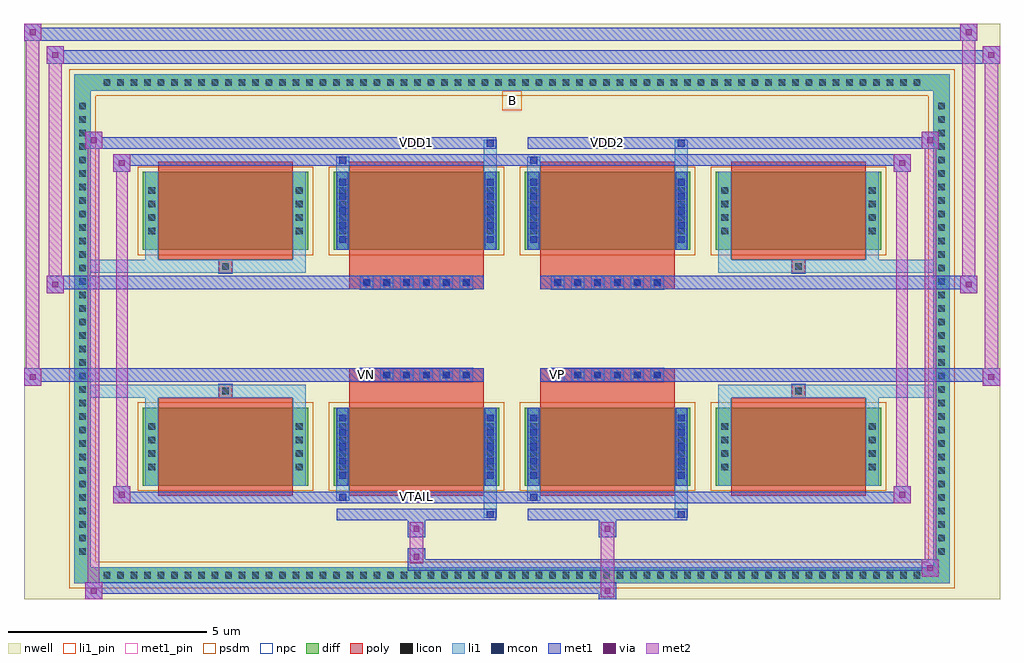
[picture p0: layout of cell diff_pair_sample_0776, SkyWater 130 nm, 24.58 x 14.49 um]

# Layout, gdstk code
import gdstk
lib = gdstk.Library(unit=1e-6, precision=5e-09)
def R(c, l, rs):  # rectangles x0, y0, x1, y1
    for r in rs: c.add(gdstk.rectangle(r[:2], r[2:], *l))
def A(c, l, x, y, w, h, nx, ny, dx, dy):  # array of equal rectangles
    R(c, l, [(x+i*dx, y+j*dy, x+i*dx+w, y+j*dy+h) for i in range(nx) for j in range(ny)])
def P(c, l, *ps):  # polygons
    for p in ps: c.add(gdstk.Polygon(p, *l))
nwell = (64, 20)
diff = (65, 20)
poly = (66, 20)
licon = (66, 44)
li1_pin = (67, 16)
li1 = (67, 20)
mcon = (67, 44)
met1_pin = (68, 16)
met1 = (68, 20)
via = (68, 44)
met2 = (69, 20)
psdm = (94, 20)
npc = (95, 20)

diff_pair_sample_0776 = lib.new_cell('diff_pair_sample_0776')
R(diff_pair_sample_0776, nwell, [(-12.29,-6.81,12.29,7.68), (-9.61,-5,-0.01,-0.8), (0.01,-5,9.61,-0.8), (-9.61,0.8,-0.01,5), (0.01,0.8,9.61,5)])
A(diff_pair_sample_0776, diff, -10.405, -6.41, 0.41, 0.41, 61, 2, 0.34, 12.41)
A(diff_pair_sample_0776, diff, -11.02, -5.815, 0.41, 0.41, 1, 34, 0, 0.34)
A(diff_pair_sample_0776, diff, 10.61, -5.815, 0.41, 0.41, 1, 34, 0, 0.34)
A(diff_pair_sample_0776, diff, -9.3, -3.955, 4.17, 1.97, 4, 2, 4.81, 5.94)
R(diff_pair_sample_0776, diff, [(-10.405,-6.41,10.405,-6), (-11.02,-5.815,-10.61,5.815), (10.61,-5.815,11.02,5.815), (-10.405,6,10.405,6.41)])
P(diff_pair_sample_0776, diff, [(11.02,6.41),(-11.02,6.41),(-11.02,-6),(-10.61,-6),(-10.61,6),(10.61,6),(10.61,-6),(-10.61,-6),(-11.02,-6),(-11.02,-6.41),(11.02,-6.41)])
A(diff_pair_sample_0776, poly, -8.91, -4.205, 3.39, 2.47, 4, 2, 4.81, 5.94)
A(diff_pair_sample_0776, poly, -3.82, -1.33, 0.33, 0.33, 6, 2, 0.5, 2.33)
A(diff_pair_sample_0776, poly, 0.99, -1.33, 0.33, 0.33, 6, 2, 0.5, 2.33)
R(diff_pair_sample_0776, poly, [(-7.38,-1.735,-7.05,-1.405), (-7.38,-1.735,-7.05,-1.405), (-4.1,-1.735,-0.71,-1.33), (0.71,-1.735,4.1,-1.33), (7.05,-1.735,7.38,-1.405), (7.05,-1.735,7.38,-1.405), (-4.1,-1.33,-0.71,-1), (0.71,-1.33,4.1,-1), (-4.1,1,-0.71,1.33), (0.71,1,4.1,1.33), (-4.1,1.33,-0.71,1.735), (0.71,1.33,4.1,1.735), (-7.38,1.405,-7.05,1.735), (-7.38,1.405,-7.05,1.735), (7.05,1.405,7.38,1.735), (7.05,1.405,7.38,1.735)])
A(diff_pair_sample_0776, licon, -10.285, -6.29, 0.17, 0.17, 61, 2, 0.34, 12.41)
A(diff_pair_sample_0776, licon, -10.9, -5.695, 0.17, 0.17, 1, 34, 0, 0.34)
A(diff_pair_sample_0776, licon, 10.73, -5.695, 0.17, 0.17, 1, 34, 0, 0.34)
A(diff_pair_sample_0776, licon, -9.16, -3.565, 0.17, 0.17, 1, 4, 0, 0.34)
A(diff_pair_sample_0776, licon, -5.44, -3.565, 0.17, 0.17, 1, 4, 0, 0.34)
A(diff_pair_sample_0776, licon, -4.35, -3.565, 0.17, 0.17, 1, 4, 0, 0.34)
A(diff_pair_sample_0776, licon, -0.63, -3.565, 0.17, 0.17, 1, 4, 0, 0.34)
A(diff_pair_sample_0776, licon, 0.46, -3.565, 0.17, 0.17, 1, 4, 0, 0.34)
A(diff_pair_sample_0776, licon, 4.18, -3.565, 0.17, 0.17, 1, 4, 0, 0.34)
A(diff_pair_sample_0776, licon, 5.27, -3.565, 0.17, 0.17, 1, 4, 0, 0.34)
A(diff_pair_sample_0776, licon, 8.99, -3.565, 0.17, 0.17, 1, 4, 0, 0.34)
A(diff_pair_sample_0776, licon, -3.74, -1.25, 0.17, 0.17, 6, 2, 0.5, 2.33)
A(diff_pair_sample_0776, licon, 1.07, -1.25, 0.17, 0.17, 6, 2, 0.5, 2.33)
A(diff_pair_sample_0776, licon, -9.16, 2.375, 0.17, 0.17, 1, 4, 0, 0.34)
A(diff_pair_sample_0776, licon, -5.44, 2.375, 0.17, 0.17, 1, 4, 0, 0.34)
A(diff_pair_sample_0776, licon, -4.35, 2.375, 0.17, 0.17, 1, 4, 0, 0.34)
A(diff_pair_sample_0776, licon, -0.63, 2.375, 0.17, 0.17, 1, 4, 0, 0.34)
A(diff_pair_sample_0776, licon, 0.46, 2.375, 0.17, 0.17, 1, 4, 0, 0.34)
A(diff_pair_sample_0776, licon, 4.18, 2.375, 0.17, 0.17, 1, 4, 0, 0.34)
A(diff_pair_sample_0776, licon, 5.27, 2.375, 0.17, 0.17, 1, 4, 0, 0.34)
A(diff_pair_sample_0776, licon, 8.99, 2.375, 0.17, 0.17, 1, 4, 0, 0.34)
R(diff_pair_sample_0776, licon, [(-7.3,-1.655,-7.13,-1.485), (7.13,-1.655,7.3,-1.485), (-7.3,1.485,-7.13,1.655), (7.13,1.485,7.3,1.655)])
R(diff_pair_sample_0776, li1_pin, [(-0.25,5.5,0.25,6)])
A(diff_pair_sample_0776, li1, -10.365, -6.37, 0.33, 0.33, 61, 2, 0.34, 12.41)
A(diff_pair_sample_0776, li1, -10.98, -5.775, 0.33, 0.33, 1, 34, 0, 0.34)
A(diff_pair_sample_0776, li1, 10.65, -5.775, 0.33, 0.33, 1, 34, 0, 0.34)
A(diff_pair_sample_0776, li1, -4.35, -3.775, 0.17, 0.17, 1, 5, 0, 0.36)
A(diff_pair_sample_0776, li1, -0.63, -3.775, 0.17, 0.17, 1, 5, 0, 0.36)
A(diff_pair_sample_0776, li1, 0.46, -3.775, 0.17, 0.17, 1, 5, 0, 0.36)
A(diff_pair_sample_0776, li1, 4.18, -3.775, 0.17, 0.17, 1, 5, 0, 0.36)
A(diff_pair_sample_0776, li1, -9.24, -3.645, 0.33, 0.33, 1, 4, 0, 0.34)
A(diff_pair_sample_0776, li1, -5.52, -3.645, 0.33, 0.33, 1, 4, 0, 0.34)
A(diff_pair_sample_0776, li1, -4.43, -3.645, 0.33, 0.33, 1, 4, 0, 0.34)
A(diff_pair_sample_0776, li1, -0.71, -3.645, 0.33, 0.33, 1, 4, 0, 0.34)
A(diff_pair_sample_0776, li1, 0.38, -3.645, 0.33, 0.33, 1, 4, 0, 0.34)
A(diff_pair_sample_0776, li1, 4.1, -3.645, 0.33, 0.33, 1, 4, 0, 0.34)
A(diff_pair_sample_0776, li1, 5.19, -3.645, 0.33, 0.33, 1, 4, 0, 0.34)
A(diff_pair_sample_0776, li1, 8.91, -3.645, 0.33, 0.33, 1, 4, 0, 0.34)
A(diff_pair_sample_0776, li1, -3.82, -1.33, 0.33, 0.33, 6, 2, 0.5, 2.33)
A(diff_pair_sample_0776, li1, 0.99, -1.33, 0.33, 0.33, 6, 2, 0.5, 2.33)
A(diff_pair_sample_0776, li1, -4.35, 2.165, 0.17, 0.17, 1, 5, 0, 0.36)
A(diff_pair_sample_0776, li1, -0.63, 2.165, 0.17, 0.17, 1, 5, 0, 0.36)
A(diff_pair_sample_0776, li1, 0.46, 2.165, 0.17, 0.17, 1, 5, 0, 0.36)
A(diff_pair_sample_0776, li1, 4.18, 2.165, 0.17, 0.17, 1, 5, 0, 0.36)
A(diff_pair_sample_0776, li1, -9.24, 2.295, 0.33, 0.33, 1, 4, 0, 0.34)
A(diff_pair_sample_0776, li1, -5.52, 2.295, 0.33, 0.33, 1, 4, 0, 0.34)
A(diff_pair_sample_0776, li1, -4.43, 2.295, 0.33, 0.33, 1, 4, 0, 0.34)
A(diff_pair_sample_0776, li1, -0.71, 2.295, 0.33, 0.33, 1, 4, 0, 0.34)
A(diff_pair_sample_0776, li1, 0.38, 2.295, 0.33, 0.33, 1, 4, 0, 0.34)
A(diff_pair_sample_0776, li1, 4.1, 2.295, 0.33, 0.33, 1, 4, 0, 0.34)
A(diff_pair_sample_0776, li1, 5.19, 2.295, 0.33, 0.33, 1, 4, 0, 0.34)
A(diff_pair_sample_0776, li1, 8.91, 2.295, 0.33, 0.33, 1, 4, 0, 0.34)
R(diff_pair_sample_0776, li1, [(-11.02,-6.41,-10.61,-6), (-11.02,-6.41,-10.61,-6), (-10.61,-6.41,10.61,-6), (10.61,-6.41,11.02,-6), (10.61,-6.41,11.02,-6), (-11.02,-6,-10.61,6), (10.61,-6,11.02,6), (-0.71,-4.76,-0.38,-3.955), (-0.63,-4.76,-0.46,-4.59), (4.1,-4.76,4.43,-3.955), (4.18,-4.76,4.35,-4.59), (-4.43,-4.33,-4.1,-3.955), (-4.35,-4.33,-4.18,-4.16), (0.38,-4.33,0.71,-3.955), (0.46,-4.33,0.63,-4.16), (-9.24,-3.955,-8.91,-1.985), (-5.52,-3.955,-5.19,-1.985), (-4.43,-3.955,-4.1,-1.985), (-0.71,-3.955,-0.38,-1.985), (0.38,-3.955,0.71,-1.985), (4.1,-3.955,4.43,-1.985), (5.19,-3.955,5.52,-1.985), (8.91,-3.955,9.24,-1.985), (-4.35,-3.775,-4.18,-2.165), (-0.63,-3.775,-0.46,-2.165), (0.46,-3.775,0.63,-2.165), (4.18,-3.775,4.35,-2.165), (-9.24,-1.985,-8.91,-1.405), (-5.52,-1.985,-5.19,-1.405), (5.19,-1.985,5.52,-1.405), (8.91,-1.985,9.24,-1.405), (-11.02,-1.735,-7.38,-1.405), (-9.24,-1.735,-7.38,-1.405), (-7.38,-1.735,-7.05,-1.405), (-7.05,-1.735,-5.19,-1.405), (5.19,-1.735,7.05,-1.405), (7.05,-1.735,7.38,-1.405), (7.05,-1.735,11.02,-1.405), (7.38,-1.735,9.24,-1.405), (-11.02,1.405,-7.38,1.735), (-9.24,1.405,-7.38,1.735), (-9.24,1.405,-8.91,1.985), (-7.38,1.405,-7.05,1.735), (-7.05,1.405,-5.19,1.735), (-5.52,1.405,-5.19,1.985), (5.19,1.405,7.05,1.735), (5.19,1.405,5.52,1.985), (7.05,1.405,7.38,1.735), (7.05,1.405,11.02,1.735), (7.38,1.405,9.24,1.735), (8.91,1.405,9.24,1.985), (-9.24,1.985,-8.91,3.955), (-5.52,1.985,-5.19,3.955), (-4.43,1.985,-4.1,3.955), (-0.71,1.985,-0.38,3.955), (0.38,1.985,0.71,3.955), (4.1,1.985,4.43,3.955), (5.19,1.985,5.52,3.955), (8.91,1.985,9.24,3.955), (-4.35,2.165,-4.18,3.775), (-0.63,2.165,-0.46,3.775), (0.46,2.165,0.63,3.775), (4.18,2.165,4.35,3.775), (-4.43,3.955,-4.1,4.33), (-0.71,3.955,-0.38,4.76), (0.38,3.955,0.71,4.33), (4.1,3.955,4.43,4.76), (-4.35,4.16,-4.18,4.33), (0.46,4.16,0.63,4.33), (-0.63,4.59,-0.46,4.76), (4.18,4.59,4.35,4.76), (-11.02,6,-10.61,6.41), (-11.02,6,-10.61,6.41), (-10.61,6,10.61,6.41), (10.61,6,11.02,6.41), (10.61,6,11.02,6.41)])
A(diff_pair_sample_0776, mcon, -4.35, -3.775, 0.17, 0.17, 1, 5, 0, 0.36)
A(diff_pair_sample_0776, mcon, -0.63, -3.775, 0.17, 0.17, 1, 5, 0, 0.36)
A(diff_pair_sample_0776, mcon, 0.46, -3.775, 0.17, 0.17, 1, 5, 0, 0.36)
A(diff_pair_sample_0776, mcon, 4.18, -3.775, 0.17, 0.17, 1, 5, 0, 0.36)
A(diff_pair_sample_0776, mcon, -3.74, -1.25, 0.17, 0.17, 6, 2, 0.5, 2.33)
A(diff_pair_sample_0776, mcon, 1.07, -1.25, 0.17, 0.17, 6, 2, 0.5, 2.33)
A(diff_pair_sample_0776, mcon, -4.35, 2.165, 0.17, 0.17, 1, 5, 0, 0.36)
A(diff_pair_sample_0776, mcon, -0.63, 2.165, 0.17, 0.17, 1, 5, 0, 0.36)
A(diff_pair_sample_0776, mcon, 0.46, 2.165, 0.17, 0.17, 1, 5, 0, 0.36)
A(diff_pair_sample_0776, mcon, 4.18, 2.165, 0.17, 0.17, 1, 5, 0, 0.36)
R(diff_pair_sample_0776, mcon, [(-0.63,-4.76,-0.46,-4.59), (4.18,-4.76,4.35,-4.59), (-4.35,-4.33,-4.18,-4.16), (0.46,-4.33,0.63,-4.16), (-4.35,4.16,-4.18,4.33), (0.46,4.16,0.63,4.33), (-0.63,4.59,-0.46,4.76), (4.18,4.59,4.35,4.76)])
R(diff_pair_sample_0776, met1_pin, [(-2.54,-4.37,-2.27,-4.1), (-3.79,-1.29,-3.52,-1.02), (1.02,-1.29,1.29,-1.02), (-2.54,4.55,-2.27,4.82), (2.27,4.55,2.54,4.82)])
A(diff_pair_sample_0776, met1, -4.41, -3.835, 0.29, 0.29, 1, 5, 0, 0.36)
A(diff_pair_sample_0776, met1, -0.69, -3.835, 0.29, 0.29, 1, 5, 0, 0.36)
A(diff_pair_sample_0776, met1, 0.4, -3.835, 0.29, 0.29, 1, 5, 0, 0.36)
A(diff_pair_sample_0776, met1, 4.12, -3.835, 0.29, 0.29, 1, 5, 0, 0.36)
A(diff_pair_sample_0776, met1, -3.8, -1.31, 0.29, 0.29, 6, 2, 0.5, 2.33)
A(diff_pair_sample_0776, met1, 1.01, -1.31, 0.29, 0.29, 6, 2, 0.5, 2.33)
A(diff_pair_sample_0776, met1, -4.41, 2.105, 0.29, 0.29, 1, 5, 0, 0.36)
A(diff_pair_sample_0776, met1, -0.69, 2.105, 0.29, 0.29, 1, 5, 0, 0.36)
A(diff_pair_sample_0776, met1, 0.4, 2.105, 0.29, 0.29, 1, 5, 0, 0.36)
A(diff_pair_sample_0776, met1, 4.12, 2.105, 0.29, 0.29, 1, 5, 0, 0.36)
R(diff_pair_sample_0776, met1, [(-10.75,-6.81,-10.32,-6.38), (2.19,-6.81,2.62,-6.38), (-10.75,-6.67,2.62,-6.38), (10.32,-6.24,10.75,-5.81), (-2.62,-6.1,10.75,-5.81), (-2.62,-5.96,-2.19,-5.53), (-2.62,-5.25,-2.19,-4.82), (2.19,-5.25,2.62,-4.82), (-4.41,-4.82,-0.4,-4.53), (-0.69,-4.82,-0.4,-4.53), (0.4,-4.82,4.41,-4.53), (4.12,-4.82,4.41,-4.53), (-10.04,-4.39,-9.61,-3.96), (-10.04,-4.39,-4.41,-4.1), (-4.41,-4.39,-4.12,-4.1), (-4.41,-4.39,-0.4,-4.1), (-0.4,-4.39,0.4,-4.1), (0.4,-4.39,0.69,-4.1), (0.4,-4.39,4.41,-4.1), (4.41,-4.39,10.04,-4.1), (9.61,-4.39,10.04,-3.96), (-4.41,-3.955,-4.12,-1.985), (-0.69,-3.955,-0.4,-1.985), (0.4,-3.955,0.69,-1.985), (4.12,-3.955,4.41,-1.985), (-12.29,-1.43,-11.86,-1), (11.86,-1.43,12.29,-1), (-12.29,-1.33,-0.71,-1), (-4.1,-1.33,-0.71,-1), (0.71,-1.33,4.1,-1), (0.71,-1.33,12.29,-1), (-11.72,0.9,-11.29,1.33), (11.29,0.9,11.72,1.33), (-11.72,1,-4.1,1.33), (-4.1,1,-0.71,1.33), (0.71,1,4.1,1.33), (4.1,1,11.72,1.33), (-4.41,1.985,-4.12,3.955), (-0.69,1.985,-0.4,3.955), (0.4,1.985,0.69,3.955), (4.12,1.985,4.41,3.955), (-10.04,3.96,-9.61,4.39), (9.61,3.96,10.04,4.39), (-10.04,4.1,-4.41,4.39), (-4.41,4.1,-4.12,4.39), (-4.41,4.1,-0.4,4.39), (-0.4,4.1,0.4,4.39), (0.4,4.1,0.69,4.39), (0.4,4.1,4.41,4.39), (4.41,4.1,10.04,4.39), (-10.75,4.53,-10.32,4.96), (-10.75,4.53,-4.41,4.82), (-4.41,4.53,-0.4,4.82), (-0.69,4.53,-0.4,4.82), (0.4,4.53,4.41,4.82), (4.12,4.53,4.41,4.82), (4.41,4.53,10.75,4.82), (10.32,4.53,10.75,4.96), (-11.72,6.68,-11.29,7.11), (-11.72,6.68,-9.61,7.01), (-9.61,6.68,9.61,7.01), (9.61,6.68,12.29,7.01), (11.86,6.68,12.29,7.11), (-12.29,7.25,-11.86,7.68), (-12.29,7.25,-9.61,7.58), (-9.61,7.25,9.61,7.58), (9.61,7.25,11.72,7.58), (11.29,7.25,11.72,7.68)])
R(diff_pair_sample_0776, via, [(-10.61,-6.67,-10.46,-6.52), (2.33,-6.67,2.48,-6.52), (10.46,-6.1,10.61,-5.95), (-2.48,-5.82,-2.33,-5.67), (-2.48,-5.11,-2.33,-4.96), (2.33,-5.11,2.48,-4.96), (-9.9,-4.25,-9.75,-4.1), (9.75,-4.25,9.9,-4.1), (-12.15,-1.29,-12,-1.14), (12,-1.29,12.15,-1.14), (-11.58,1.04,-11.43,1.19), (11.43,1.04,11.58,1.19), (-9.9,4.1,-9.75,4.25), (9.75,4.1,9.9,4.25), (-10.61,4.67,-10.46,4.82), (10.46,4.67,10.61,4.82), (-11.58,6.82,-11.43,6.97), (12,6.82,12.15,6.97), (-12.15,7.39,-12,7.54), (11.43,7.39,11.58,7.54)])
R(diff_pair_sample_0776, met2, [(-10.75,-6.81,-10.32,-6.38), (-10.68,-6.81,-10.39,4.96), (-10.39,-6.81,-10.32,-6.38), (-10.7,-6.76,-10.37,-6.43), (2.24,-6.76,2.57,-6.43), (2.24,-6.43,2.57,-5.2), (10.32,-6.24,10.75,-5.81), (10.39,-6.24,10.68,4.96), (10.68,-6.24,10.75,-5.81), (10.37,-6.19,10.7,-5.86), (-2.57,-5.91,-2.24,-5.58), (-2.57,-5.58,-2.24,-5.2), (-2.57,-5.2,-2.24,-4.87), (2.24,-5.2,2.57,-4.87), (-10.04,-4.39,-9.61,-3.96), (-9.97,-4.39,-9.68,4.39), (-9.68,-4.39,-9.61,-3.96), (9.61,-4.39,10.04,-3.96), (9.68,-4.39,9.97,4.39), (9.97,-4.39,10.04,-3.96), (-9.99,-4.34,-9.66,-4.01), (9.66,-4.34,9.99,-4.01), (-12.29,-1.43,-11.86,-1), (-12.24,-1.43,-11.91,7.68), (-11.91,-1.43,-11.86,-1), (11.86,-1.43,12.29,-1), (11.91,-1.43,12.24,7.11), (12.24,-1.43,12.29,-1), (-12.24,-1.38,-11.91,-1.05), (11.91,-1.38,12.24,-1.05), (-11.72,0.9,-11.29,1.33), (-11.67,0.9,-11.34,7.11), (-11.34,0.9,-11.29,1.33), (11.29,0.9,11.72,1.33), (11.34,0.9,11.67,7.68), (11.67,0.9,11.72,1.33), (-11.67,0.95,-11.34,1.28), (11.34,0.95,11.67,1.28), (-10.04,3.96,-9.61,4.39), (-9.68,3.96,-9.61,4.39), (9.61,3.96,10.04,4.39), (9.97,3.96,10.04,4.39), (-9.99,4.01,-9.66,4.34), (9.66,4.01,9.99,4.34), (-10.75,4.53,-10.32,4.96), (-10.39,4.53,-10.32,4.96), (10.32,4.53,10.75,4.96), (10.68,4.53,10.75,4.96), (-10.7,4.58,-10.37,4.91), (10.37,4.58,10.7,4.91), (-11.72,6.68,-11.29,7.11), (-11.34,6.68,-11.29,7.11), (11.86,6.68,12.29,7.11), (12.24,6.68,12.29,7.11), (-11.67,6.73,-11.34,7.06), (11.91,6.73,12.24,7.06), (-12.29,7.25,-11.86,7.68), (-11.91,7.25,-11.86,7.68), (11.29,7.25,11.72,7.68), (11.67,7.25,11.72,7.68), (-12.24,7.3,-11.91,7.63), (11.34,7.3,11.67,7.63)])
A(diff_pair_sample_0776, psdm, -9.43, -4.085, 4.43, 2.23, 4, 2, 4.81, 5.94)
P(diff_pair_sample_0776, psdm, [(11.15,6.54),(-11.15,6.54),(-11.15,-5.87),(-10.48,-5.87),(-10.48,5.87),(10.48,5.87),(10.48,-5.87),(-10.48,-5.87),(-11.15,-5.87),(-11.15,-6.54),(11.15,-6.54)])
A(diff_pair_sample_0776, npc, -3.84, -1.35, 0.37, 0.37, 6, 2, 0.5, 2.33)
A(diff_pair_sample_0776, npc, 0.97, -1.35, 0.37, 0.37, 6, 2, 0.5, 2.33)
R(diff_pair_sample_0776, npc, [(-7.4,-1.755,-7.03,-1.385), (7.03,-1.755,7.4,-1.385), (-3.84,-1.35,-2.97,-0.98), (-3.84,-1.35,-2.97,-0.98), (-3.34,-1.35,-2.47,-0.98), (-3.34,-1.35,-2.47,-0.98), (-2.84,-1.35,-1.97,-0.98), (-2.84,-1.35,-1.97,-0.98), (-2.34,-1.35,-1.47,-0.98), (-2.34,-1.35,-1.47,-0.98), (-1.84,-1.35,-0.97,-0.98), (-1.84,-1.35,-0.97,-0.98), (0.97,-1.35,1.84,-0.98), (0.97,-1.35,1.84,-0.98), (1.47,-1.35,2.34,-0.98), (1.47,-1.35,2.34,-0.98), (1.97,-1.35,2.84,-0.98), (1.97,-1.35,2.84,-0.98), (2.47,-1.35,3.34,-0.98), (2.47,-1.35,3.34,-0.98), (2.97,-1.35,3.84,-0.98), (2.97,-1.35,3.84,-0.98), (-3.84,0.98,-2.97,1.35), (-3.84,0.98,-2.97,1.35), (-3.34,0.98,-2.47,1.35), (-3.34,0.98,-2.47,1.35), (-2.84,0.98,-1.97,1.35), (-2.84,0.98,-1.97,1.35), (-2.34,0.98,-1.47,1.35), (-2.34,0.98,-1.47,1.35), (-1.84,0.98,-0.97,1.35), (-1.84,0.98,-0.97,1.35), (0.97,0.98,1.84,1.35), (0.97,0.98,1.84,1.35), (1.47,0.98,2.34,1.35), (1.47,0.98,2.34,1.35), (1.97,0.98,2.84,1.35), (1.97,0.98,2.84,1.35), (2.47,0.98,3.34,1.35), (2.47,0.98,3.34,1.35), (2.97,0.98,3.84,1.35), (2.97,0.98,3.84,1.35), (-7.4,1.385,-7.03,1.755), (7.03,1.385,7.4,1.755)])
diff_pair_sample_0776.add(gdstk.Label('VTAIL', (-2.405,-4.235), layer=68, texttype=5))
diff_pair_sample_0776.add(gdstk.Label('VN', (-3.655,-1.155), layer=68, texttype=5))
diff_pair_sample_0776.add(gdstk.Label('VP', (1.155,-1.155), layer=68, texttype=5))
diff_pair_sample_0776.add(gdstk.Label('B', (0,5.75), layer=67, texttype=5))
diff_pair_sample_0776.add(gdstk.Label('VDD2', (2.405,4.685), layer=68, texttype=5))
diff_pair_sample_0776.add(gdstk.Label('VDD1', (-2.405,4.685), layer=68, texttype=5))

lib.write_gds('diff_pair_sample_0776.gds')
